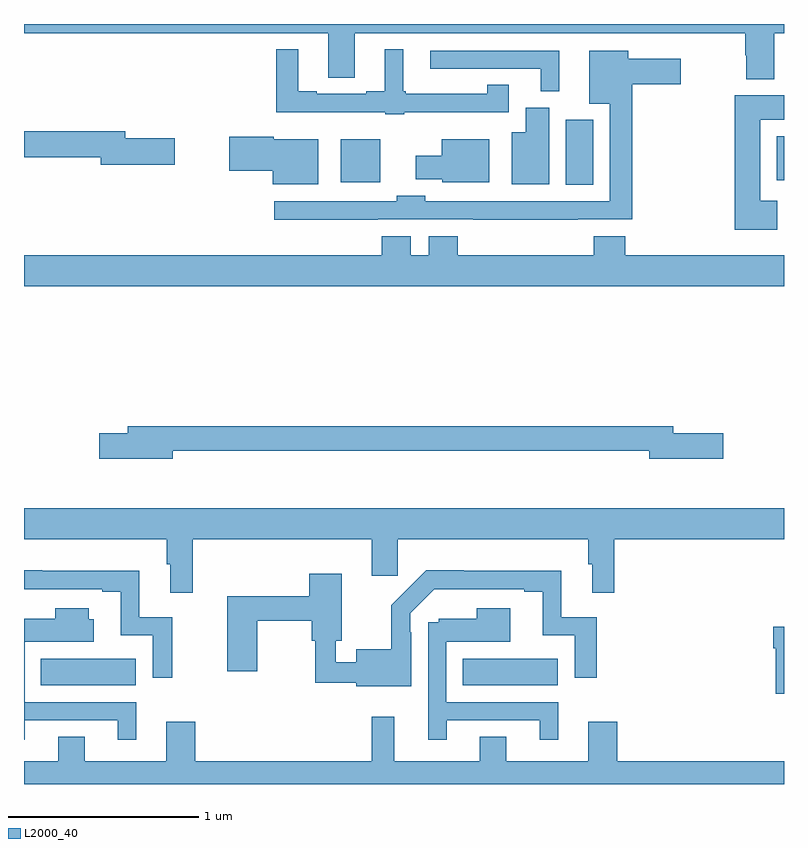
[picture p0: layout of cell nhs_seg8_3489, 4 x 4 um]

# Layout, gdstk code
import gdstk
lib = gdstk.Library(unit=1e-6, precision=1e-09)
def R(c, l, rs):  # rectangles x0, y0, x1, y1
    for r in rs: c.add(gdstk.rectangle(r[:2], r[2:], *l))
def P(c, l, *ps):  # polygons
    for p in ps: c.add(gdstk.Polygon(p, *l))
L2000_40 = (2000, 40)

nhs_seg8_3489 = lib.new_cell('nhs_seg8_3489')
R(nhs_seg8_3489, L2000_40, [(327.088,1094.42,327.589,1094.56), (329.308,1094.42,329.809,1094.56), (329.852,1097.053,329.995,1097.395), (328.667,1097.066,328.876,1097.293), (330.962,1097.078,331,1097.308)])
P(nhs_seg8_3489, L2000_40, [(330.949,1097.852),(331,1097.852),(331,1097.9),(327,1097.9),(327,1097.852),(328.601,1097.852),(328.601,1097.617),(328.741,1097.617),(328.741,1097.852),(330.797,1097.852),(330.797,1097.736),(330.802,1097.736),(330.802,1097.609),(330.949,1097.609)],
  [(329.002,1097.435),(329.551,1097.435),(329.551,1097.579),(329.438,1097.579),(329.438,1097.533),(329.008,1097.533),(329.008,1097.545),(328.996,1097.545),(328.996,1097.767),(328.898,1097.767),(328.898,1097.545),(328.802,1097.545),(328.802,1097.532),(328.54,1097.532),(328.54,1097.545),(328.444,1097.545),(328.444,1097.767),(328.327,1097.767),(328.327,1097.435),(328.902,1097.435),(328.902,1097.424),(329.002,1097.424)],
  [(329.818,1097.76),(329.139,1097.76),(329.139,1097.664),(329.72,1097.664),(329.72,1097.545),(329.818,1097.545)],
  [(328.862,1096.872),(329.365,1096.872),(329.365,1096.871),(329.915,1096.871),(329.915,1096.872),(330.2,1096.872),(330.2,1097.582),(330.457,1097.582),(330.457,1097.716),(330.181,1097.716),(330.181,1097.758),(329.975,1097.758),(329.975,1097.48),(330.084,1097.48),(330.084,1096.968),(329.112,1096.968),(329.112,1096.996),(328.962,1096.996),(328.962,1096.968),(328.317,1096.968),(328.317,1096.871),(328.862,1096.871)],
  [(330.964,1096.969),(330.874,1096.969),(330.874,1097.396),(331,1097.396),(331,1097.524),(330.74,1097.524),(330.74,1096.817),(330.964,1096.817)],
  [(329.764,1097.46),(329.642,1097.46),(329.642,1097.329),(329.567,1097.329),(329.567,1097.057),(329.764,1097.057)],
  [(327.793,1097.3),(327.532,1097.3),(327.532,1097.336),(327,1097.336),(327,1097.2),(327.404,1097.2),(327.404,1097.158),(327.793,1097.158)],
  [(328.549,1097.293),(328.314,1097.293),(328.314,1097.306),(328.08,1097.306),(328.08,1097.128),(328.31,1097.128),(328.31,1097.057),(328.549,1097.057)],
  [(329.449,1097.293),(329.198,1097.293),(329.198,1097.206),(329.061,1097.206),(329.061,1097.084),(329.202,1097.084),(329.202,1097.066),(329.449,1097.066)],
  [(331,1096.684),(330.164,1096.684),(330.164,1096.783),(329.999,1096.783),(329.999,1096.684),(329.282,1096.684),(329.282,1096.783),(329.129,1096.783),(329.129,1096.684),(329.035,1096.684),(329.035,1096.783),(328.883,1096.783),(328.883,1096.684),(327,1096.684),(327,1096.52),(331,1096.52)],
  [(327.784,1095.654),(330.29,1095.654),(330.29,1095.611),(330.679,1095.611),(330.679,1095.746),(330.418,1095.746),(330.418,1095.782),(327.545,1095.782),(327.545,1095.746),(327.396,1095.746),(327.396,1095.611),(327.784,1095.611)],
  [(327.887,1095.188),(328.829,1095.188),(328.829,1094.997),(328.967,1094.997),(328.967,1095.188),(329.971,1095.188),(329.971,1095.056),(329.99,1095.056),(329.99,1094.907),(330.107,1094.907),(330.107,1095.188),(331,1095.188),(331,1095.352),(327,1095.352),(327,1095.188),(327.751,1095.188),(327.751,1095.056),(327.77,1095.056),(327.77,1094.907),(327.887,1094.907)],
  [(327.779,1094.778),(327.607,1094.778),(327.607,1095.022),(327.095,1095.022),(327.095,1095.025),(327,1095.025),(327,1094.925),(327.413,1094.925),(327.413,1094.913),(327.509,1094.913),(327.509,1094.682),(327.678,1094.682),(327.678,1094.46),(327.779,1094.46)],
  [(329.037,1094.699),(329.034,1094.699),(329.034,1094.799),(329.16,1094.925),(329.633,1094.925),(329.633,1094.913),(329.729,1094.913),(329.729,1094.682),(329.898,1094.682),(329.898,1094.46),(330.014,1094.46),(330.014,1094.778),(329.827,1094.778),(329.827,1095.022),(329.315,1095.022),(329.315,1095.025),(329.116,1095.025),(328.934,1094.842),(328.934,1094.608),(328.749,1094.608),(328.749,1094.541),(328.641,1094.541),(328.641,1094.654),(328.672,1094.654),(328.672,1095.007),(328.502,1095.007),(328.502,1094.887),(328.07,1094.887),(328.07,1094.493),(328.228,1094.493),(328.228,1094.758),(328.514,1094.758),(328.514,1094.654),(328.533,1094.654),(328.533,1094.433),(328.748,1094.433),(328.748,1094.414),(329.037,1094.414)],
  [(327.004,1094.235),(327.494,1094.235),(327.494,1094.133),(327.592,1094.133),(327.592,1094.331),(327.003,1094.331),(327.003,1094.648),(327.367,1094.648),(327.367,1094.766),(327.34,1094.766),(327.34,1094.824),(327.164,1094.824),(327.164,1094.77),(327,1094.77),(327,1094.133),(327.004,1094.133)],
  [(329.224,1094.235),(329.714,1094.235),(329.714,1094.133),(329.812,1094.133),(329.812,1094.331),(329.223,1094.331),(329.223,1094.648),(329.56,1094.648),(329.56,1094.824),(329.384,1094.824),(329.384,1094.77),(329.184,1094.77),(329.184,1094.751),(329.127,1094.751),(329.127,1094.133),(329.224,1094.133)],
  [(331,1094.728),(330.944,1094.728),(330.944,1094.615),(330.956,1094.615),(330.956,1094.375),(331,1094.375)],
  [(331,1094.02),(330.122,1094.02),(330.122,1094.227),(329.969,1094.227),(329.969,1094.02),(329.539,1094.02),(329.539,1094.15),(329.399,1094.15),(329.399,1094.02),(328.949,1094.02),(328.949,1094.254),(328.831,1094.254),(328.831,1094.02),(327.902,1094.02),(327.902,1094.227),(327.749,1094.227),(327.749,1094.02),(327.319,1094.02),(327.319,1094.15),(327.179,1094.15),(327.179,1094.02),(327,1094.02),(327,1093.9),(331,1093.9)])

lib.write_gds('nhs_seg8_3489.gds')
